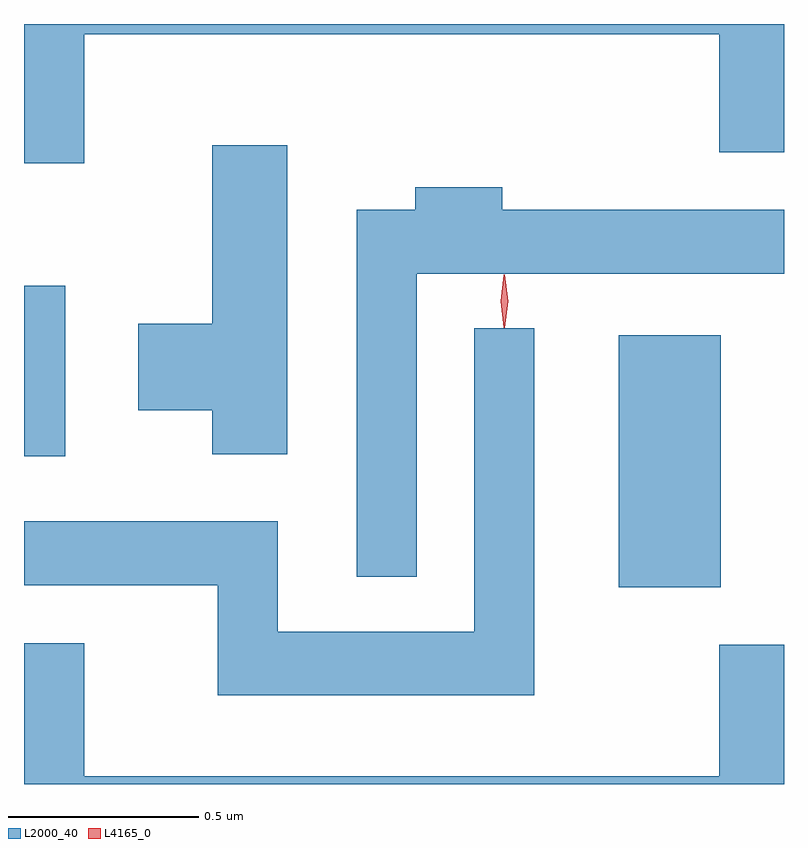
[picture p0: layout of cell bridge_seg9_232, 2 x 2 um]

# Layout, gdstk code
import gdstk
lib = gdstk.Library(unit=1e-6, precision=1e-09)
def R(c, l, rs):  # rectangles x0, y0, x1, y1
    for r in rs: c.add(gdstk.rectangle(r[:2], r[2:], *l))
def P(c, l, *ps):  # polygons
    for p in ps: c.add(gdstk.Polygon(p, *l))
L2000_40 = (2000, 40)
L4165_0 = (4165, 0)

bridge_seg9_232 = lib.new_cell('bridge_seg9_232')
R(bridge_seg9_232, L2000_40, [(1488.426,1968.161,1488.694,1968.824), (1486.861,1968.506,1486.969,1968.954)])
P(bridge_seg9_232, L2000_40, [(1488.691,1969.306),(1488.861,1969.306),(1488.861,1969.643),(1486.861,1969.643),(1486.861,1969.276),(1487.019,1969.276),(1487.019,1969.616),(1488.691,1969.616)],
  [(1487.554,1969.324),(1487.356,1969.324),(1487.356,1968.854),(1487.161,1968.854),(1487.161,1968.626),(1487.356,1968.626),(1487.356,1968.511),(1487.554,1968.511)],
  [(1487.894,1968.986),(1488.861,1968.986),(1488.861,1969.154),(1488.119,1969.154),(1488.119,1969.214),(1487.891,1969.214),(1487.891,1969.154),(1487.736,1969.154),(1487.736,1968.188),(1487.894,1968.188)],
  [(1488.204,1968.843),(1488.046,1968.843),(1488.046,1968.044),(1487.529,1968.044),(1487.529,1968.334),(1486.861,1968.334),(1486.861,1968.166),(1487.371,1968.166),(1487.371,1967.876),(1488.204,1967.876)],
  [(1488.861,1968.009),(1488.691,1968.009),(1488.691,1967.664),(1487.019,1967.664),(1487.019,1968.014),(1486.861,1968.014),(1486.861,1967.643),(1488.861,1967.643)])
P(bridge_seg9_232, L4165_0, [(1488.124,1968.844),(1488.115,1968.914),(1488.124,1968.983),(1488.125,1968.983),(1488.126,1968.983),(1488.135,1968.914),(1488.126,1968.844),(1488.125,1968.844)],
  [(1488.124,1968.847),(1488.115,1968.914),(1488.124,1968.98),(1488.125,1968.981),(1488.126,1968.98),(1488.135,1968.914),(1488.126,1968.847),(1488.125,1968.847)])

lib.write_gds('bridge_seg9_232.gds')
